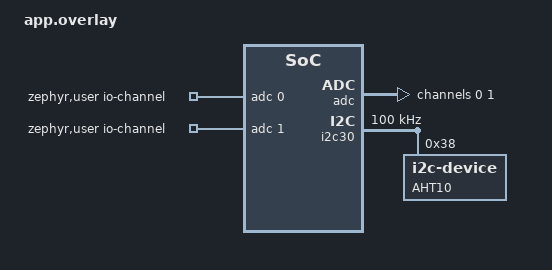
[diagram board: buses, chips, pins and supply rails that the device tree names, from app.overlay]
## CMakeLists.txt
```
cmake_minimum_required(VERSION 3.20.0)

# ── Board default (override on CLI: -DBOARD=xiao_nrf54l15 etc.) ───────────────
# nRF54L15 DK:  nrf54l15dk/nrf54l15/cpuapp
# XIAO nRF54L15: xiao_nrf54l15/nrf54l15/cpuapp
# Adjust to your board before building.
if(NOT DEFINED ENV{BOARD})
  set(BOARD xiao_nrf54l15/nrf54l15/cpuapp CACHE STRING "")
endif()

find_package(Zephyr REQUIRED HINTS $ENV{ZEPHYR_BASE})
project(wyatt_nrf54l15)

target_sources(app PRIVATE src/main.c)
```

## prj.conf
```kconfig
CONFIG_BT=y
CONFIG_BT_PERIPHERAL=y
CONFIG_BT_DEVICE_NAME="WYATT nRF54"
CONFIG_BT_DEVICE_APPEARANCE=0
# Larger MTU to carry 36-byte ADC batches (BATCH_SIZE=8).
# 100 B payload is comfortably above the 39 B minimum.
CONFIG_BT_L2CAP_TX_MTU=100
CONFIG_BT_BUF_ACL_TX_SIZE=104
CONFIG_BT_BUF_ACL_RX_SIZE=104
CONFIG_ADC=y
CONFIG_LOG=y
CONFIG_LOG_DEFAULT_LEVEL=3
CONFIG_MAIN_STACK_SIZE=4096
CONFIG_SYSTEM_WORKQUEUE_STACK_SIZE=2048
CONFIG_BT_LL_SOFTDEVICE=y
CONFIG_BT_GATT_CLIENT=y
CONFIG_UART_CONSOLE=y
CONFIG_LOG_BACKEND_UART=y
CONFIG_SERIAL=y
```

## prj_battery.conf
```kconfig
# Battery-optimized config for Android firmware (nRF54L15 XIAO).
# Build: west build -b xiao_nrf54l15/nrf54l15/cpuapp -- -DCONF_FILE=prj_battery.conf
#
# Biggest savings come from disabling UART console + logging.
#
# The ADC loop sleeps between samples, so the core can idle between BLE
# events; this config additionally kills the UART drain (~1-2 mA).

# Bluetooth
CONFIG_BT=y
CONFIG_BT_PERIPHERAL=y
CONFIG_BT_DEVICE_NAME="WYATT nRF54"
CONFIG_BT_DEVICE_APPEARANCE=0
CONFIG_BT_L2CAP_TX_MTU=100
CONFIG_BT_BUF_ACL_TX_SIZE=104
CONFIG_BT_BUF_ACL_RX_SIZE=104
CONFIG_BT_GATT_CLIENT=y

# Prefer longer connection intervals so the radio idles more.
# Units are 1.25 ms.
# 24 = 30 ms, 40 = 50 ms
CONFIG_BT_PERIPHERAL_PREF_MIN_INT=24
CONFIG_BT_PERIPHERAL_PREF_MAX_INT=40
CONFIG_BT_PERIPHERAL_PREF_LATENCY=0
# Supervision timeout in 10 ms units — 400 = 4 s
CONFIG_BT_PERIPHERAL_PREF_TIMEOUT=400

# ADC
CONFIG_ADC=y

# Tickless kernel — lets MCU sleep when idle (already default; explicit here)
CONFIG_TICKLESS_KERNEL=y

# --- Kill UART / console / serial stack (biggest single saving) ---
CONFIG_SERIAL=n
CONFIG_UART_CONSOLE=n
CONFIG_CONSOLE=n

# --- Kill logging backend (relies on UART anyway) ---
CONFIG_LOG=n
CONFIG_PRINTK=n
CONFIG_BOOT_BANNER=n

# Smaller stacks since logging is gone
CONFIG_MAIN_STACK_SIZE=2048
CONFIG_SYSTEM_WORKQUEUE_STACK_SIZE=1024
```

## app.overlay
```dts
/ {
    zephyr,user {
        io-channels = <&adc 0>, <&adc 1>;
    };
};

&adc {
    #address-cells = <1>;
    #size-cells = <0>;
    status = "okay";

    channel@0 {
        reg = <0>;
        zephyr,gain             = "ADC_GAIN_1_4";
        zephyr,reference        = "ADC_REF_INTERNAL";
        zephyr,acquisition-time = <ADC_ACQ_TIME_DEFAULT>;
        zephyr,input-positive   = <NRF_SAADC_AIN0>;
        zephyr,resolution       = <14>;
        /delete-property/ zephyr,oversampling;
    };

    channel@1 {
        reg = <1>;
        zephyr,gain             = "ADC_GAIN_1_4";
        zephyr,reference        = "ADC_REF_INTERNAL";
        zephyr,acquisition-time = <ADC_ACQ_TIME_DEFAULT>;
        zephyr,input-positive   = <NRF_SAADC_AIN1>;
        zephyr,resolution       = <14>;
        /delete-property/ zephyr,oversampling;
    };
};

&i2c30 {
    status = "okay";
    clock-frequency = <I2C_BITRATE_STANDARD>;

    aht10@38 {
        compatible = "i2c-device";
        reg = <0x38>;
        label = "AHT10";
    };
};
```

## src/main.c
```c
/*
 * nRF54L15 — Dual-Channel ADC (1 kHz per channel) + on-die TEMP sensor over BLE
 *
 * No external sensor — the "Sensor" characteristic reports the nRF54L15's
 * internal die temperature (via the TEMP peripheral / nrfx HAL). The
 * humidity field is retained in the packet layout but always reports 0.0.
 */

#include <zephyr/kernel.h>
#include <zephyr/device.h>
#include <zephyr/drivers/adc.h>
#include <zephyr/bluetooth/bluetooth.h>
#include <zephyr/bluetooth/hci.h>
#include <zephyr/bluetooth/conn.h>
#include <zephyr/bluetooth/uuid.h>
#include <zephyr/bluetooth/gatt.h>
#include <zephyr/logging/log.h>
#include <hal/nrf_temp.h>
#include <string.h>

LOG_MODULE_REGISTER(wyatt_ble, LOG_LEVEL_INF);

#define SERVICE_UUID \
    BT_UUID_DECLARE_128(BT_UUID_128_ENCODE(0x75ab9000,0xcd33,0x44dd,0xba7e,0x2037855136d4))
#define ADC_CHAR_UUID \
    BT_UUID_DECLARE_128(BT_UUID_128_ENCODE(0x27314856,0xfe77,0x45f0,0xb4f8,0xfed858ece431))
#define SENSOR_CHAR_UUID \
    BT_UUID_DECLARE_128(BT_UUID_128_ENCODE(0x27314857,0xfe77,0x45f0,0xb4f8,0xfed858ece431))

/* ── ADC ── */
static const struct adc_dt_spec adc_ch1 =
    ADC_DT_SPEC_GET_BY_IDX(DT_PATH(zephyr_user), 0);
static const struct adc_dt_spec adc_ch2 =
    ADC_DT_SPEC_GET_BY_IDX(DT_PATH(zephyr_user), 1);

/* Must match Android BATCH_SAMPLES. Packet size = 4 + BATCH_SIZE*4.
 * 8 samples → 36 bytes/packet; requires ATT MTU ≥ 39. */
#define BATCH_SIZE  8
#define BUF_BYTES   (4 + BATCH_SIZE * 4)   /* 36 bytes */
static uint8_t  adc_buf[BUF_BYTES];
static int      sample_count;
static uint32_t batch_start_us;
static int16_t  raw_ch1;
static int16_t  raw_ch2;

static struct adc_sequence seq_ch1 = {
    .buffer      = &raw_ch1,
    .buffer_size = sizeof(raw_ch1),
};
static struct adc_sequence seq_ch2 = {
    .buffer      = &raw_ch2,
    .buffer_size = sizeof(raw_ch2),
};

/* ── On-die TEMP (nrfx HAL) ──
 * nRF54L15 TEMP peripheral. Result is a signed count in 0.25 °C steps.
 * Bluetooth is running so HFCLK is active; TEMP needs no extra config. */
static bool nrf_temp_read(float *temp_c)
{
    nrf_temp_event_clear(NRF_TEMP, NRF_TEMP_EVENT_DATARDY);
    nrf_temp_task_trigger(NRF_TEMP, NRF_TEMP_TASK_START);

    /* Conversion is a few µs on nRF54L; cap wait at 10 ms. */
    for (int i = 0; i < 1000; i++) {
        if (nrf_temp_event_check(NRF_TEMP, NRF_TEMP_EVENT_DATARDY)) {
            nrf_temp_event_clear(NRF_TEMP, NRF_TEMP_EVENT_DATARDY);
            nrf_temp_task_trigger(NRF_TEMP, NRF_TEMP_TASK_STOP);
            int32_t raw = nrf_temp_result_get(NRF_TEMP);
            *temp_c = (float)raw * 0.25f;
            return true;
        }
        k_busy_wait(10);
    }
    nrf_temp_task_trigger(NRF_TEMP, NRF_TEMP_TASK_STOP);
    return false;
}

/* ── BLE ── */
static struct bt_conn *current_conn;
static bool notify_adc_enabled;
static bool notify_sensor_enabled;
static bool mtu_exchanged;          /* NEW — gate for notifications */

static void adc_ccc_changed(const struct bt_gatt_attr *attr, uint16_t value)
{
    notify_adc_enabled = (value == BT_GATT_CCC_NOTIFY);
    LOG_INF("ADC notify %s", notify_adc_enabled ? "ON" : "OFF");
}

static void sensor_ccc_changed(const struct bt_gatt_attr *attr, uint16_t value)
{
    notify_sensor_enabled = (value == BT_GATT_CCC_NOTIFY);
    LOG_INF("Sensor notify %s", notify_sensor_enabled ? "ON" : "OFF");
}

static uint8_t sensor_cache[12];

static ssize_t read_adc(struct bt_conn *conn, const struct bt_gatt_attr *attr,
                        void *buf, uint16_t len, uint16_t offset)
{
    return bt_gatt_attr_read(conn, attr, buf, len, offset,
                             adc_buf, sizeof(adc_buf));
}

static ssize_t read_sensor(struct bt_conn *conn, const struct bt_gatt_attr *attr,
                           void *buf, uint16_t len, uint16_t offset)
{
    return bt_gatt_attr_read(conn, attr, buf, len, offset,
                             sensor_cache, sizeof(sensor_cache));
}

BT_GATT_SERVICE_DEFINE(wyatt_svc,
    BT_GATT_PRIMARY_SERVICE(SERVICE_UUID),
    BT_GATT_CHARACTERISTIC(ADC_CHAR_UUID,
                           BT_GATT_CHRC_READ | BT_GATT_CHRC_NOTIFY,
                           BT_GATT_PERM_READ,
                           read_adc, NULL, adc_buf),
    BT_GATT_CCC(adc_ccc_changed, BT_GATT_PERM_READ | BT_GATT_PERM_WRITE),
    BT_GATT_CHARACTERISTIC(SENSOR_CHAR_UUID,
                           BT_GATT_CHRC_READ | BT_GATT_CHRC_NOTIFY,
                           BT_GATT_PERM_READ,
                           read_sensor, NULL, sensor_cache),
    BT_GATT_CCC(sensor_ccc_changed, BT_GATT_PERM_READ | BT_GATT_PERM_WRITE),
);

static const struct bt_gatt_attr *adc_attr(void)   { return &wyatt_svc.attrs[1]; }
static const struct bt_gatt_attr *sensor_attr(void) { return &wyatt_svc.attrs[4]; }

static const struct bt_data ad[] = {
    BT_DATA_BYTES(BT_DATA_FLAGS, BT_LE_AD_GENERAL | BT_LE_AD_NO_BREDR),
    BT_DATA_BYTES(BT_DATA_NAME_COMPLETE,
                  'W','Y','A','T','T',' ','n','R','F','5','4'),
};

/* Always advertise with the name — the Android client scans by name. */
static int start_advertising(void)
{
    return bt_le_adv_start(BT_LE_ADV_CONN_FAST_1, ad, ARRAY_SIZE(ad), NULL, 0);
}

static void adv_restart_handler(struct k_work *work)
{
    ARG_UNUSED(work);
    int err = start_advertising();
    if (err) { LOG_ERR("adv restart: %d", err); }
}
static K_WORK_DEFINE(adv_restart_work, adv_restart_handler);

/* MTU exchange callback — set flag when done */
static void mtu_exchange_cb(struct bt_conn *conn, uint8_t err,
                             struct bt_gatt_exchange_params *params)
{
    if (err) {
        LOG_WRN("MTU exchange failed: %u", err);
    } else {
        LOG_INF("MTU exchanged: %u", bt_gatt_get_mtu(conn));
        mtu_exchanged = true;
    }
}

static struct bt_gatt_exchange_params mtu_params = {
    .func = mtu_exchange_cb,
};

static void connected(struct bt_conn *conn, uint8_t err)
{
    if (err) { LOG_ERR("Connect failed: %u", err); return; }
    current_conn  = bt_conn_ref(conn);
    mtu_exchanged = false;
    LOG_INF("Connected — requesting MTU exchange");
    /* Initiate MTU exchange from peripheral side */
    bt_gatt_exchange_mtu(conn, &mtu_params);
}

static void disconnected(struct bt_conn *conn, uint8_t reason)
{
    LOG_INF("Disconnected (reason %u)", reason);
    if (current_conn) {
        bt_conn_unref(current_conn);
        current_conn = NULL;
    }
    notify_adc_enabled    = false;
    notify_sensor_enabled = false;
    mtu_exchanged         = false;
}

/* Restart advertising once the connection object is released. Doing it in
 * disconnected() can fail because the old connection still holds its slot. */
static void recycled(void)
{
    k_work_submit(&adv_restart_work);
}

BT_CONN_CB_DEFINE(conn_callbacks) = {
    .connected    = connected,
    .disconnected = disconnected,
    .recycled     = recycled,
};

/* ── Threads ── */
#define ADC_THREAD_STACK    1024
#define ADC_THREAD_PRIO        5
#define SENSOR_THREAD_STACK 1024
#define SENSOR_THREAD_PRIO     6

K_THREAD_STACK_DEFINE(adc_stack,    ADC_THREAD_STACK);
K_THREAD_STACK_DEFINE(sensor_stack, SENSOR_THREAD_STACK);
static struct k_thread adc_thread_data;
static struct k_thread sensor_thread_data;

static void adc_thread(void *p1, void *p2, void *p3)
{
    ARG_UNUSED(p1); ARG_UNUSED(p2); ARG_UNUSED(p3);

    int ret;
    ret = adc_channel_setup_dt(&adc_ch1);
    if (ret) { LOG_ERR("ADC ch1 setup: %d", ret); return; }
    ret = adc_channel_setup_dt(&adc_ch2);
    if (ret) { LOG_ERR("ADC ch2 setup: %d", ret); return; }

    adc_sequence_init_dt(&adc_ch1, &seq_ch1);
    adc_sequence_init_dt(&adc_ch2, &seq_ch2);

    int64_t next_us = k_ticks_to_us_floor64(k_uptime_ticks());

    while (1) {
        /* 1 ms period → 1 kHz per channel. At BATCH_SIZE=8 that is
         * 125 notifications/sec — comfortable inside a ~15 ms BLE
         * connection interval. */
        next_us += 1000;
        int64_t now_us = k_ticks_to_us_floor64(k_uptime_ticks());
        if (next_us > now_us) {
            /* Sleep (not busy-wait) so lower-priority threads like the
             * TEMP reader get CPU time and the core can idle. An absolute
             * deadline keeps the average rate exact despite tick rounding. */
            k_sleep(K_TIMEOUT_ABS_US(next_us));
        } else if (now_us - next_us > 10000) {
            next_us = now_us;   /* fell far behind — resync, don't burst */
        }

        /* Only sample when connected AND MTU is ready */
        if (!current_conn || !mtu_exchanged) {
            sample_count = 0;
            continue;
        }

        if (sample_count == 0) {
            batch_start_us =
                (uint32_t)k_ticks_to_us_floor64(k_uptime_ticks());
        }

        adc_read_dt(&adc_ch1, &seq_ch1);
        adc_read_dt(&adc_ch2, &seq_ch2);

        uint16_t v1 = (uint16_t)raw_ch1;
        uint16_t v2 = (uint16_t)raw_ch2;

        int off = 4 + sample_count * 4;
        adc_buf[off]     =  v1       & 0xFF;
        adc_buf[off + 1] = (v1 >> 8) & 0xFF;
        adc_buf[off + 2] =  v2       & 0xFF;
        adc_buf[off + 3] = (v2 >> 8) & 0xFF;
        sample_count++;

        if (sample_count >= BATCH_SIZE) {
            adc_buf[0] =  batch_start_us        & 0xFF;
            adc_buf[1] = (batch_start_us >>  8) & 0xFF;
            adc_buf[2] = (batch_start_us >> 16) & 0xFF;
            adc_buf[3] = (batch_start_us >> 24) & 0xFF;

            if (notify_adc_enabled) {
                bt_gatt_notify(current_conn, adc_attr(),
                               adc_buf, sizeof(adc_buf));
            }
            sample_count = 0;
        }
    }
}

static void sensor_thread(void *p1, void *p2, void *p3)
{
    ARG_UNUSED(p1); ARG_UNUSED(p2); ARG_UNUSED(p3);

    LOG_INF("Using nRF54L15 on-die TEMP sensor");
    const float hum_pct = 0.0f;  /* placeholder — no humidity source */

    while (1) {
        k_msleep(2000);
        if (!current_conn || !mtu_exchanged) continue;

        float temp_c = 0.0f;
        if (!nrf_temp_read(&temp_c)) {
            LOG_WRN("TEMP read timed out");
            continue;
        }

        uint32_t ts =
            (uint32_t)k_ticks_to_us_floor64(k_uptime_ticks());
        sensor_cache[0] =  ts        & 0xFF;
        sensor_cache[1] = (ts >>  8) & 0xFF;
        sensor_cache[2] = (ts >> 16) & 0xFF;
        sensor_cache[3] = (ts >> 24) & 0xFF;
        memcpy(&sensor_cache[4], &temp_c,  4);
        memcpy(&sensor_cache[8], &hum_pct, 4);

        if (notify_sensor_enabled) {
            bt_gatt_notify(current_conn, sensor_attr(),
                           sensor_cache, sizeof(sensor_cache));
        }
        LOG_INF("Die temp: %.2f C", (double)temp_c);
    }
}

int main(void)
{
    int err;
    LOG_INF("WYATT nRF54L15 booting");

    err = bt_enable(NULL);
    if (err) { LOG_ERR("bt_enable: %d", err); return err; }

    err = start_advertising();
    if (err) { LOG_ERR("adv_start: %d", err); return err; }
    LOG_INF("Advertising as 'WYATT nRF54'");

    k_thread_create(&adc_thread_data, adc_stack,
                    K_THREAD_STACK_SIZEOF(adc_stack),
                    adc_thread, NULL, NULL, NULL,
                    ADC_THREAD_PRIO, 0, K_NO_WAIT);
    k_thread_name_set(&adc_thread_data, "adc_sampler");

    k_thread_create(&sensor_thread_data, sensor_stack,
                    K_THREAD_STACK_SIZEOF(sensor_stack),
                    sensor_thread, NULL, NULL, NULL,
                    SENSOR_THREAD_PRIO, 0, K_NO_WAIT);
    k_thread_name_set(&sensor_thread_data, "temp_reader");

    return 0;
}
```
